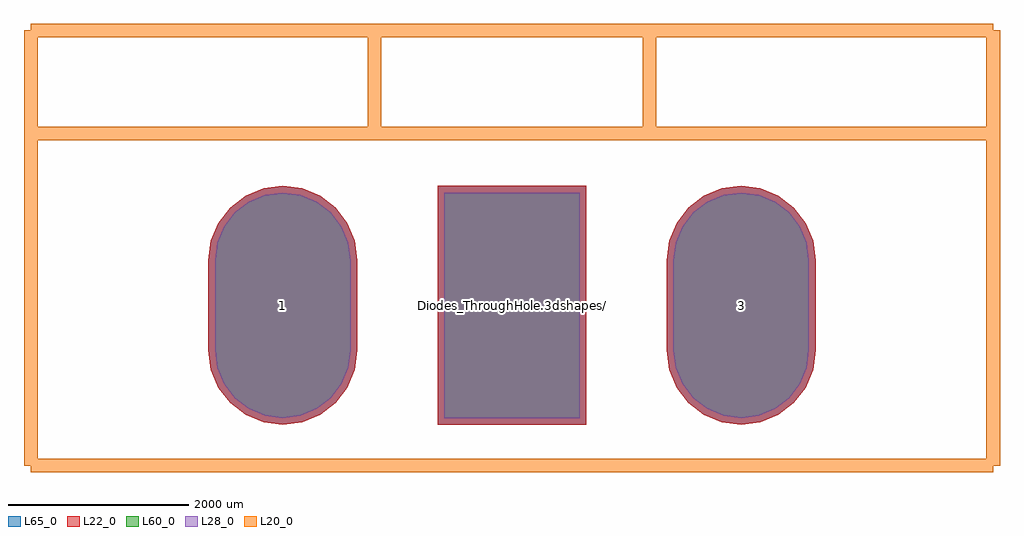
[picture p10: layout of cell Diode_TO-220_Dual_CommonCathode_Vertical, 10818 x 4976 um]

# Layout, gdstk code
import gdstk
lib = gdstk.Library(unit=1e-6, precision=1e-09)
def R(c, l, rs):  # rectangles x0, y0, x1, y1
    for r in rs: c.add(gdstk.rectangle(r[:2], r[2:], *l))
def P(c, l, *ps):  # polygons
    for p in ps: c.add(gdstk.Polygon(p, *l))
L20_0 = (20, 0)
L22_0 = (22, 0)
L28_0 = (28, 0)
L60_0 = (60, 0)
L65_0 = (65, 0)

diode_to_220_dual_common = lib.new_cell('Diode_TO-220_Dual_CommonCathode_Vertical')
R(diode_to_220_dual_common, L22_0, [(1711.89,-1324.68,3363.03,1324.68)])
P(diode_to_220_dual_common, L22_0, [(5077.46,-1324.68),(5291.133,-1296.549),(5490.245,-1214.075),(5661.226,-1082.876),(5792.425,-911.895),(5874.899,-712.783),(5903.03,-499.11),(5903.03,499.11),(5874.899,712.783),(5792.425,911.895),(5661.226,1082.876),(5490.245,1214.075),(5291.133,1296.549),(5077.46,1324.68),(4863.787,1296.549),(4664.675,1214.075),(4493.694,1082.876),(4362.495,911.895),(4280.021,712.783),(4251.89,499.11),(4251.89,-499.11),(4280.021,-712.783),(4362.495,-911.895),(4493.694,-1082.876),(4664.675,-1214.075),(4863.787,-1296.549)],
  [(-2.54,-1324.68),(211.133,-1296.549),(410.245,-1214.075),(581.226,-1082.876),(712.425,-911.895),(794.899,-712.783),(823.03,-499.11),(823.03,499.11),(794.899,712.783),(712.425,911.895),(581.226,1082.876),(410.245,1214.075),(211.133,1296.549),(-2.54,1324.68),(-216.213,1296.549),(-415.325,1214.075),(-586.306,1082.876),(-717.505,911.895),(-799.979,712.783),(-828.11,499.11),(-828.11,-499.11),(-799.979,-712.783),(-717.505,-911.895),(-586.306,-1082.876),(-415.325,-1214.075),(-216.213,-1296.549)])
R(diode_to_220_dual_common, L28_0, [(1786.89,-1249.68,3288.03,1249.68)])
P(diode_to_220_dual_common, L28_0, [(5077.46,-1249.68),(5271.722,-1224.105),(5452.745,-1149.123),(5608.193,-1029.843),(5727.473,-874.395),(5802.455,-693.372),(5828.03,-499.11),(5828.03,499.11),(5802.455,693.372),(5727.473,874.395),(5608.193,1029.843),(5452.745,1149.123),(5271.722,1224.105),(5077.46,1249.68),(4883.198,1224.105),(4702.175,1149.123),(4546.727,1029.843),(4427.447,874.395),(4352.465,693.372),(4326.89,499.11),(4326.89,-499.11),(4352.465,-693.372),(4427.447,-874.395),(4546.727,-1029.843),(4702.175,-1149.123),(4883.198,-1224.105)],
  [(-2.54,-1249.68),(191.722,-1224.105),(372.745,-1149.123),(528.193,-1029.843),(647.473,-874.395),(722.455,-693.372),(748.03,-499.11),(748.03,499.11),(722.455,693.372),(647.473,874.395),(528.193,1029.843),(372.745,1149.123),(191.722,1224.105),(-2.54,1249.68),(-196.802,1224.105),(-377.825,1149.123),(-533.273,1029.843),(-652.553,874.395),(-727.535,693.372),(-753.11,499.11),(-753.11,-499.11),(-727.535,-693.372),(-652.553,-874.395),(-533.273,-1029.843),(-377.825,-1149.123),(-196.802,-1224.105)])
R(diode_to_220_dual_common, L60_0, [(1786.89,-1249.68,3288.03,1249.68)])
P(diode_to_220_dual_common, L60_0, [(5077.46,-1249.68),(5271.722,-1224.105),(5452.745,-1149.123),(5608.193,-1029.843),(5727.473,-874.395),(5802.455,-693.372),(5828.03,-499.11),(5828.03,499.11),(5802.455,693.372),(5727.473,874.395),(5608.193,1029.843),(5452.745,1149.123),(5271.722,1224.105),(5077.46,1249.68),(4883.198,1224.105),(4702.175,1149.123),(4546.727,1029.843),(4427.447,874.395),(4352.465,693.372),(4326.89,499.11),(4326.89,-499.11),(4352.465,-693.372),(4427.447,-874.395),(4546.727,-1029.843),(4702.175,-1149.123),(4883.198,-1224.105)],
  [(-2.54,-1249.68),(191.722,-1224.105),(372.745,-1149.123),(528.193,-1029.843),(647.473,-874.395),(722.455,-693.372),(748.03,-499.11),(748.03,499.11),(722.455,693.372),(647.473,874.395),(528.193,1029.843),(372.745,1149.123),(191.722,1224.105),(-2.54,1249.68),(-196.802,1224.105),(-377.825,1149.123),(-533.273,1029.843),(-652.553,874.395),(-727.535,693.372),(-753.11,499.11),(-753.11,-499.11),(-727.535,-693.372),(-652.553,-874.395),(-533.273,-1029.843),(-377.825,-1149.123),(-196.802,-1224.105)])
R(diode_to_220_dual_common, L65_0, [(1711.89,-1324.68,3363.03,1324.68)])
P(diode_to_220_dual_common, L65_0, [(5077.46,-1324.68),(5291.133,-1296.549),(5490.245,-1214.075),(5661.226,-1082.876),(5792.425,-911.895),(5874.899,-712.783),(5903.03,-499.11),(5903.03,499.11),(5874.899,712.783),(5792.425,911.895),(5661.226,1082.876),(5490.245,1214.075),(5291.133,1296.549),(5077.46,1324.68),(4863.787,1296.549),(4664.675,1214.075),(4493.694,1082.876),(4362.495,911.895),(4280.021,712.783),(4251.89,499.11),(4251.89,-499.11),(4280.021,-712.783),(4362.495,-911.895),(4493.694,-1082.876),(4664.675,-1214.075),(4863.787,-1296.549)],
  [(-2.54,-1324.68),(211.133,-1296.549),(410.245,-1214.075),(581.226,-1082.876),(712.425,-911.895),(794.899,-712.783),(823.03,-499.11),(823.03,499.11),(794.899,712.783),(712.425,911.895),(581.226,1082.876),(410.245,1214.075),(211.133,1296.549),(-2.54,1324.68),(-216.213,1296.549),(-415.325,1214.075),(-586.306,1082.876),(-717.505,911.895),(-799.979,712.783),(-828.11,499.11),(-828.11,-499.11),(-799.979,-712.783),(-717.505,-911.895),(-586.306,-1082.876),(-415.325,-1214.075),(-216.213,-1296.549)])
diode_to_220_dual_common.add(gdstk.FlexPath([(2537.46,3048),(7871.46,3048)], 149.998, ends="flush", simple_path=True, layer=20, datatype=0))  # L20_0
diode_to_220_dual_common.add(gdstk.FlexPath([(2537.46,3048),(-2796.54,3048)], 149.998, ends="flush", simple_path=True, layer=20, datatype=0))  # L20_0
diode_to_220_dual_common.add(gdstk.FlexPath([(-2796.54,1905),(-2796.54,3048)], 149.998, ends="flush", simple_path=True, layer=20, datatype=0))  # L20_0
diode_to_220_dual_common.add(gdstk.FlexPath([(7871.46,1905),(-2796.54,1905)], 149.998, ends="flush", simple_path=True, layer=20, datatype=0))  # L20_0
diode_to_220_dual_common.add(gdstk.FlexPath([(7871.46,3048),(7871.46,1905)], 149.998, ends="flush", simple_path=True, layer=20, datatype=0))  # L20_0
diode_to_220_dual_common.add(gdstk.FlexPath([(-2796.54,-1778),(-2796.54,1905)], 149.998, ends="flush", simple_path=True, layer=20, datatype=0))  # L20_0
diode_to_220_dual_common.add(gdstk.FlexPath([(7871.46,-1778),(-2796.54,-1778)], 149.998, ends="flush", simple_path=True, layer=20, datatype=0))  # L20_0
diode_to_220_dual_common.add(gdstk.FlexPath([(7871.46,1905),(7871.46,-1778)], 149.998, ends="flush", simple_path=True, layer=20, datatype=0))  # L20_0
diode_to_220_dual_common.add(gdstk.FlexPath([(4061.46,3048),(4061.46,1905)], 149.998, ends="flush", simple_path=True, layer=20, datatype=0))  # L20_0
diode_to_220_dual_common.add(gdstk.FlexPath([(1013.46,3048),(1013.46,1905)], 149.998, ends="flush", simple_path=True, layer=20, datatype=0))  # L20_0
diode_to_220_dual_common.add(gdstk.Label('Diodes_ThroughHole.3dshapes/Diode_TO-220_Dual_CommonCathode_Vertical.wrl', (2540,0), layer=12, texttype=0))
diode_to_220_dual_common.add(gdstk.Label('3', (5077.46,0), layer=28, texttype=0))
diode_to_220_dual_common.add(gdstk.Label('1', (-2.54,0), layer=28, texttype=0))
diode_to_220_dual_common.add(gdstk.Label('2', (2537.46,0), layer=28, texttype=0))
diode_to_220_dual_common.add(gdstk.Label('type', (2557.78,-2839.72), layer=9, texttype=0))
diode_to_220_dual_common.add(gdstk.Label('devicename', (2547.62,3837.94), layer=9, texttype=0))

lib.write_gds('Diode_TO-220_Dual_CommonCathode_Vertical.gds')
